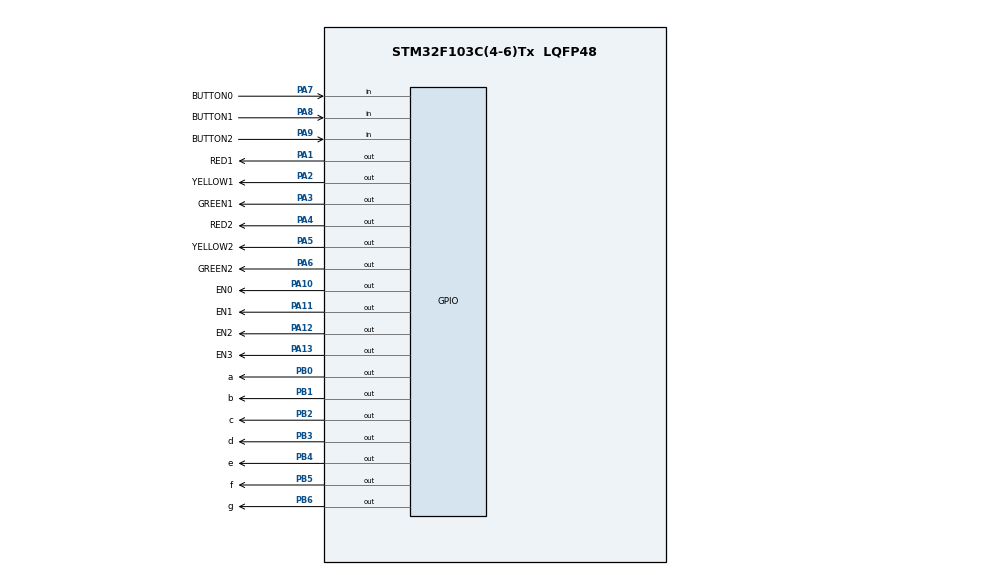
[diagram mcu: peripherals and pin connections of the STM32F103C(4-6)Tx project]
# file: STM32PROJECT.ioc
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Mcu.Family=STM32F1
Mcu.Name=STM32F103C(4-6)Tx
Mcu.Package=LQFP48
NVIC.PriorityGroup=NVIC_PRIORITYGROUP_4
NVIC.TIM2_IRQn=true\:0\:0\:false\:false\:true\:true\:true
PA1.GPIO_Label=RED1
PA1.Signal=GPIO_Output
PA10.GPIO_Label=EN0
PA10.Signal=GPIO_Output
PA11.GPIO_Label=EN1
PA11.Signal=GPIO_Output
PA12.GPIO_Label=EN2
PA12.Signal=GPIO_Output
PA13.GPIO_Label=EN3
PA13.Signal=GPIO_Output
PA2.GPIO_Label=YELLOW1
PA2.Signal=GPIO_Output
PA3.GPIO_Label=GREEN1
PA3.Signal=GPIO_Output
PA4.GPIO_Label=RED2
PA4.Signal=GPIO_Output
PA5.GPIO_Label=YELLOW2
PA5.Signal=GPIO_Output
PA6.GPIO_Label=GREEN2
PA6.Signal=GPIO_Output
PA7.GPIO_Label=BUTTON0
PA7.GPIO_PuPd=GPIO_PULLUP
PA7.Signal=GPIO_Input
PA8.GPIO_Label=BUTTON1
PA8.GPIO_PuPd=GPIO_PULLUP
PA8.Signal=GPIO_Input
PA9.GPIO_Label=BUTTON2
PA9.GPIO_PuPd=GPIO_PULLUP
PA9.Signal=GPIO_Input
PB0.GPIO_Label=a
PB0.Signal=GPIO_Output
PB1.GPIO_Label=b
PB1.Signal=GPIO_Output
PB2.GPIO_Label=c
PB2.Signal=GPIO_Output
PB3.GPIO_Label=d
PB3.Signal=GPIO_Output
PB4.GPIO_Label=e
PB4.Signal=GPIO_Output
PB5.GPIO_Label=f
PB5.Signal=GPIO_Output
PB6.GPIO_Label=g
PB6.Signal=GPIO_Output
ProjectManager.HeapSize=0x200
ProjectManager.StackSize=0x400
ProjectManager.TargetToolchain=STM32CubeIDE
RCC.APB1Freq_Value=8000000
RCC.APB2Freq_Value=8000000
TIM2.Period=9
TIM2.Prescaler=7999
VP_SYS_VS_ND.Mode=No_Debug
VP_TIM2_VS_ClockSourceINT.Mode=Internal
board=custom

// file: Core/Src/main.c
/* USER CODE BEGIN Header */
/**
  ******************************************************************************
  * @file           : main.c
  * @brief          : Main program body
  ******************************************************************************
  * @attention
  *
  * <h2><center>&copy; Copyright (c) 2024 STMicroelectronics.
  * All rights reserved.</center></h2>
  *
  * This software component is licensed by ST under BSD 3-Clause license,
  * the "License"; You may not use this file except in compliance with the
  * License. You may obtain a copy of the License at:
  *                        opensource.org/licenses/BSD-3-Clause
  *
  ******************************************************************************
  */
/* USER CODE END Header */
#include "main.h"

/* USER CODE BEGIN Includes */
#include "software_timer.h"
#include "fsm_automatic.h"
#include "fsm_manual.h"
#include "button.h"
#include "display.h"
/* USER CODE END Includes */

TIM_HandleTypeDef htim2;

void SystemClock_Config(void);
static void MX_GPIO_Init(void);
static void MX_TIM2_Init(void);

int main(void)
{

  /* MCU Configuration--------------------------------------------------------*/

  /* Reset of all peripherals, Initializes the Flash interface and the Systick. */
  HAL_Init();

  /* Configure the system clock */
  SystemClock_Config();

  /* Initialize all configured peripherals */
  MX_GPIO_Init();
  MX_TIM2_Init();
  /* USER CODE BEGIN 2 */
  HAL_TIM_Base_Start_IT(&htim2);
  /* USER CODE END 2 */

  /* Infinite loop */
  /* USER CODE BEGIN WHILE */
  status = INIT;
  while (1)
  {
	 	fsm_automatic_run();
	 	fsm_manual_run();
    /* USER CODE END WHILE */

  }
}

void SystemClock_Config(void)
{
  RCC_OscInitTypeDef RCC_OscInitStruct = {0};
  RCC_ClkInitTypeDef RCC_ClkInitStruct = {0};

  /** Initializes the RCC Oscillators according to the specified parameters
  * in the RCC_OscInitTypeDef structure.
  */
  RCC_OscInitStruct.OscillatorType = RCC_OSCILLATORTYPE_HSI;
  RCC_OscInitStruct.HSIState = RCC_HSI_ON;
  RCC_OscInitStruct.HSICalibrationValue = RCC_HSICALIBRATION_DEFAULT;
  RCC_OscInitStruct.PLL.PLLState = RCC_PLL_NONE;
  if (HAL_RCC_OscConfig(&RCC_OscInitStruct) != HAL_OK)
  {
    Error_Handler();
  }
  /** Initializes the CPU, AHB and APB buses clocks
  */
  RCC_ClkInitStruct.ClockType = RCC_CLOCKTYPE_HCLK|RCC_CLOCKTYPE_SYSCLK
                              |RCC_CLOCKTYPE_PCLK1|RCC_CLOCKTYPE_PCLK2;
  RCC_ClkInitStruct.SYSCLKSource = RCC_SYSCLKSOURCE_HSI;
  RCC_ClkInitStruct.AHBCLKDivider = RCC_SYSCLK_DIV1;
  RCC_ClkInitStruct.APB1CLKDivider = RCC_HCLK_DIV1;
  RCC_ClkInitStruct.APB2CLKDivider = RCC_HCLK_DIV1;

  if (HAL_RCC_ClockConfig(&RCC_ClkInitStruct, FLASH_LATENCY_0) != HAL_OK)
  {
    Error_Handler();
  }
}

static void MX_TIM2_Init(void)
{

  TIM_ClockConfigTypeDef sClockSourceConfig = {0};
  TIM_MasterConfigTypeDef sMasterConfig = {0};

  htim2.Instance = TIM2;
  htim2.Init.Prescaler = 7999;
  htim2.Init.CounterMode = TIM_COUNTERMODE_UP;
  htim2.Init.Period = 9;
  htim2.Init.ClockDivision = TIM_CLOCKDIVISION_DIV1;
  htim2.Init.AutoReloadPreload = TIM_AUTORELOAD_PRELOAD_DISABLE;
  if (HAL_TIM_Base_Init(&htim2) != HAL_OK)
  {
    Error_Handler();
  }
  sClockSourceConfig.ClockSource = TIM_CLOCKSOURCE_INTERNAL;
  if (HAL_TIM_ConfigClockSource(&htim2, &sClockSourceConfig) != HAL_OK)
  {
    Error_Handler();
  }
  sMasterConfig.MasterOutputTrigger = TIM_TRGO_RESET;
  sMasterConfig.MasterSlaveMode = TIM_MASTERSLAVEMODE_DISABLE;
  if (HAL_TIMEx_MasterConfigSynchronization(&htim2, &sMasterConfig) != HAL_OK)
  {
    Error_Handler();
  }

}

static void MX_GPIO_Init(void)
{
  GPIO_InitTypeDef GPIO_InitStruct = {0};

  /* GPIO Ports Clock Enable */
  __HAL_RCC_GPIOA_CLK_ENABLE();
  __HAL_RCC_GPIOB_CLK_ENABLE();

  /*Configure GPIO pin Output Level */
  HAL_GPIO_WritePin(GPIOA, RED1_Pin|YELLOW1_Pin|GREEN1_Pin|RED2_Pin
                          |YELLOW2_Pin|GREEN2_Pin|EN0_Pin|EN1_Pin
                          |EN2_Pin|EN3_Pin, GPIO_PIN_RESET);

  /*Configure GPIO pin Output Level */
  HAL_GPIO_WritePin(GPIOB, a_Pin|b_Pin|c_Pin|d_Pin
                          |e_Pin|f_Pin|g_Pin, GPIO_PIN_RESET);

  /*Configure GPIO pins : RED1_Pin YELLOW1_Pin GREEN1_Pin RED2_Pin
                           YELLOW2_Pin GREEN2_Pin EN0_Pin EN1_Pin
                           EN2_Pin EN3_Pin */
  GPIO_InitStruct.Pin = RED1_Pin|YELLOW1_Pin|GREEN1_Pin|RED2_Pin
                          |YELLOW2_Pin|GREEN2_Pin|EN0_Pin|EN1_Pin
                          |EN2_Pin|EN3_Pin;
  GPIO_InitStruct.Mode = GPIO_MODE_OUTPUT_PP;
  GPIO_InitStruct.Pull = GPIO_NOPULL;
  GPIO_InitStruct.Speed = GPIO_SPEED_FREQ_LOW;
  HAL_GPIO_Init(GPIOA, &GPIO_InitStruct);

  /*Configure GPIO pins : BUTTON0_Pin BUTTON1_Pin BUTTON2_Pin */
  GPIO_InitStruct.Pin = BUTTON0_Pin|BUTTON1_Pin|BUTTON2_Pin;
  GPIO_InitStruct.Mode = GPIO_MODE_INPUT;
  GPIO_InitStruct.Pull = GPIO_PULLUP;
  HAL_GPIO_Init(GPIOA, &GPIO_InitStruct);

  /*Configure GPIO pins : a_Pin b_Pin c_Pin d_Pin
                           e_Pin f_Pin g_Pin */
  GPIO_InitStruct.Pin = a_Pin|b_Pin|c_Pin|d_Pin
                          |e_Pin|f_Pin|g_Pin;
  GPIO_InitStruct.Mode = GPIO_MODE_OUTPUT_PP;
  GPIO_InitStruct.Pull = GPIO_NOPULL;
  GPIO_InitStruct.Speed = GPIO_SPEED_FREQ_LOW;
  HAL_GPIO_Init(GPIOB, &GPIO_InitStruct);

}

/* USER CODE BEGIN 4 */

void HAL_TIM_PeriodElapsedCallback(TIM_HandleTypeDef *htim){
	timerRun(0);
	timerRun(1);
	timerRun(2);
	timerRun(3);
	getKeyInput();
}

/* USER CODE END 4 */

void Error_Handler(void)
{
  __disable_irq();
  while (1)
  {
  }
}

/************************ (C) COPYRIGHT STMicroelectronics *****END OF FILE****/
